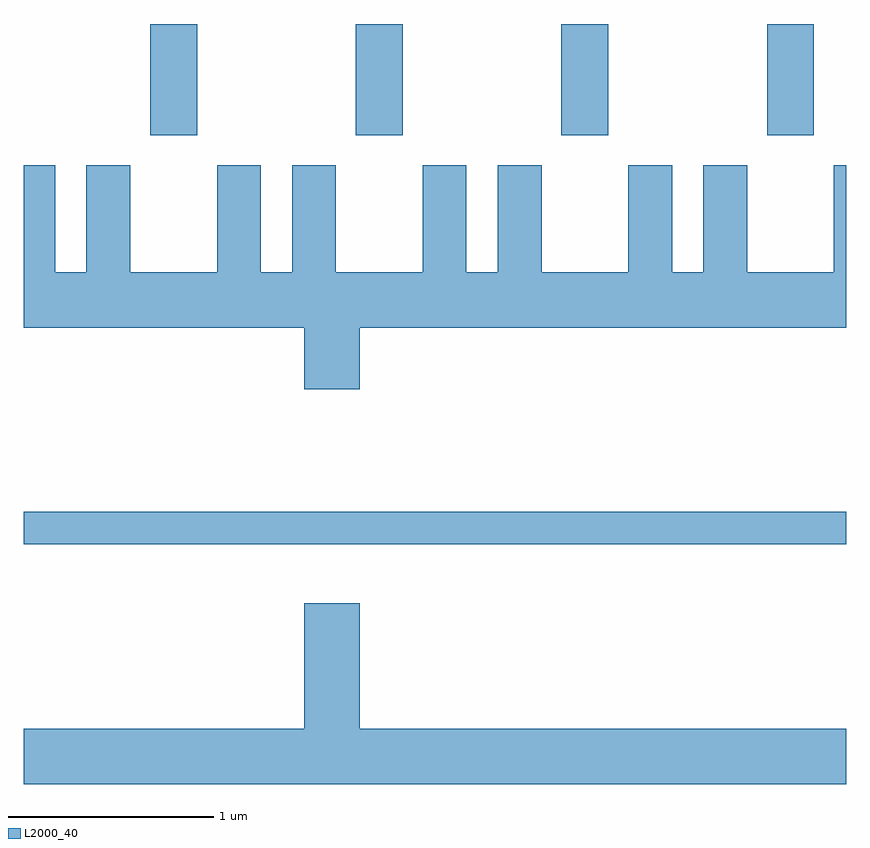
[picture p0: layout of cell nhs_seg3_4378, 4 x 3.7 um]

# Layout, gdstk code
import gdstk
lib = gdstk.Library(unit=1e-6, precision=1e-09)
def R(c, l, rs):  # rectangles x0, y0, x1, y1
    for r in rs: c.add(gdstk.rectangle(r[:2], r[2:], *l))
def A(c, l, x, y, w, h, nx, ny, dx, dy):  # array of equal rectangles
    R(c, l, [(x+i*dx, y+j*dy, x+i*dx+w, y+j*dy+h) for i in range(nx) for j in range(ny)])
def P(c, l, *ps):  # polygons
    for p in ps: c.add(gdstk.Polygon(p, *l))
L2000_40 = (2000, 40)

nhs_seg3_4378 = lib.new_cell('nhs_seg3_4378')
A(nhs_seg3_4378, L2000_40, 314.226, 1171.351, 0.228, 0.541, 4, 1, 1, 0)
R(nhs_seg3_4378, L2000_40, [(313.611,1169.361,317.611,1169.519)])
P(nhs_seg3_4378, L2000_40, [(314.976,1170.116),(315.244,1170.116),(315.244,1170.416),(317.611,1170.416),(317.611,1171.204),(317.551,1171.204),(317.551,1170.684),(317.129,1170.684),(317.129,1171.204),(316.916,1171.204),(316.916,1170.684),(316.764,1170.684),(316.764,1171.204),(316.551,1171.204),(316.551,1170.684),(316.129,1170.684),(316.129,1171.204),(315.916,1171.204),(315.916,1170.684),(315.764,1170.684),(315.764,1171.204),(315.551,1171.204),(315.551,1170.684),(315.129,1170.684),(315.129,1171.204),(314.916,1171.204),(314.916,1170.684),(314.764,1170.684),(314.764,1171.204),(314.551,1171.204),(314.551,1170.684),(314.129,1170.684),(314.129,1171.204),(313.916,1171.204),(313.916,1170.684),(313.764,1170.684),(313.764,1171.204),(313.611,1171.204),(313.611,1170.416),(314.976,1170.416)],
  [(317.611,1168.464),(315.244,1168.464),(315.244,1169.074),(314.976,1169.074),(314.976,1168.464),(313.611,1168.464),(313.611,1168.196),(317.611,1168.196)])

lib.write_gds('nhs_seg3_4378.gds')
